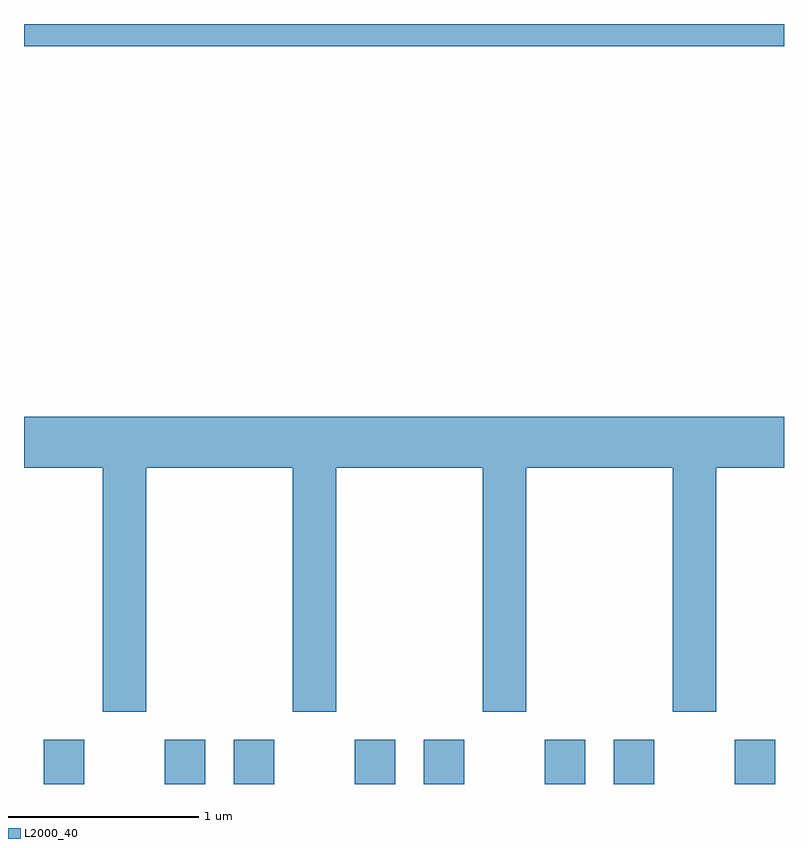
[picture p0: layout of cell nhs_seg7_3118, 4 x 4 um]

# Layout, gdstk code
import gdstk
lib = gdstk.Library(unit=1e-6, precision=1e-09)
def R(c, l, rs):  # rectangles x0, y0, x1, y1
    for r in rs: c.add(gdstk.rectangle(r[:2], r[2:], *l))
def P(c, l, *ps):  # polygons
    for p in ps: c.add(gdstk.Polygon(p, *l))
L2000_40 = (2000, 40)

nhs_seg7_3118 = lib.new_cell('nhs_seg7_3118')
R(nhs_seg7_3118, L2000_40, [(281.716,1668.252,281.929,1668.484), (282.351,1668.252,282.564,1668.484), (282.716,1668.252,282.929,1668.484), (283.351,1668.252,283.564,1668.484), (283.716,1668.252,283.929,1668.484), (284.351,1668.252,284.564,1668.484), (284.716,1668.252,284.929,1668.484), (285.351,1668.252,285.564,1668.484), (281.611,1672.136,285.611,1672.252)])
P(nhs_seg7_3118, L2000_40, [(282.254,1669.916),(283.026,1669.916),(283.026,1668.631),(283.254,1668.631),(283.254,1669.916),(284.026,1669.916),(284.026,1668.631),(284.254,1668.631),(284.254,1669.916),(285.026,1669.916),(285.026,1668.631),(285.254,1668.631),(285.254,1669.916),(285.611,1669.916),(285.611,1670.184),(281.611,1670.184),(281.611,1669.916),(282.026,1669.916),(282.026,1668.631),(282.254,1668.631)])

lib.write_gds('nhs_seg7_3118.gds')
